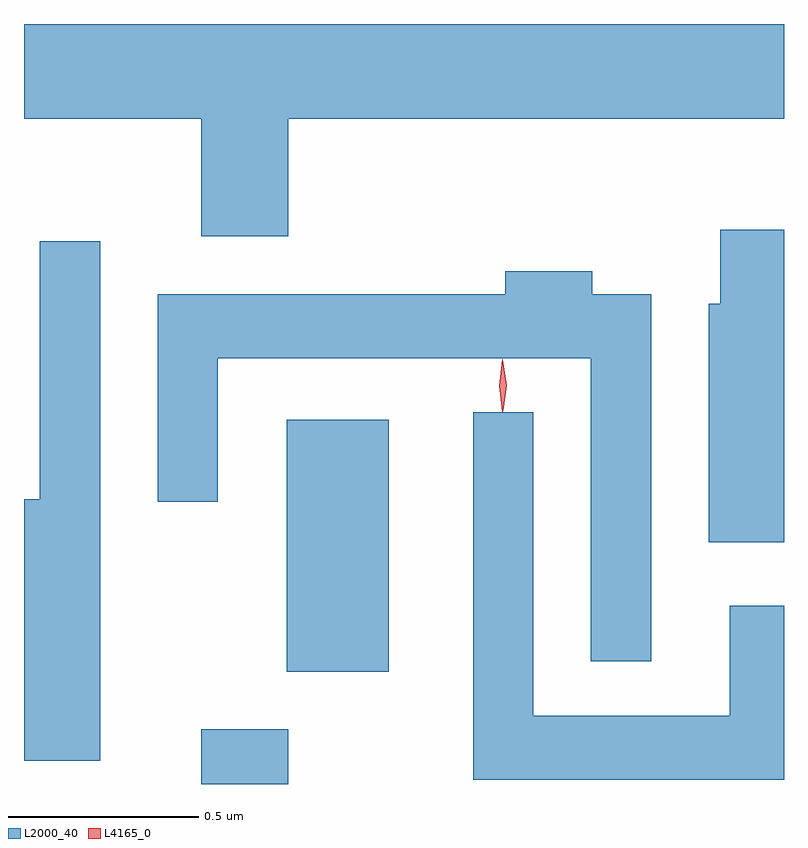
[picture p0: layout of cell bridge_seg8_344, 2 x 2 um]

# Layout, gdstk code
import gdstk
lib = gdstk.Library(unit=1e-6, precision=1e-09)
def R(c, l, rs):  # rectangles x0, y0, x1, y1
    for r in rs: c.add(gdstk.rectangle(r[:2], r[2:], *l))
def P(c, l, *ps):  # polygons
    for p in ps: c.add(gdstk.Polygon(p, *l))
L2000_40 = (2000, 40)
L4165_0 = (4165, 0)

bridge_seg8_344 = lib.new_cell('bridge_seg8_344')
R(bridge_seg8_344, L2000_40, [(935.801,1927.905,936.029,1928.049), (936.026,1928.201,936.294,1928.864)])
P(bridge_seg8_344, L2000_40, [(936.029,1929.656),(937.334,1929.656),(937.334,1929.905),(935.334,1929.905),(935.334,1929.656),(935.801,1929.656),(935.801,1929.346),(936.029,1929.346)],
  [(937.334,1929.364),(937.166,1929.364),(937.166,1929.169),(937.136,1929.169),(937.136,1928.541),(937.334,1928.541)],
  [(935.534,1929.333),(935.376,1929.333),(935.376,1928.654),(935.334,1928.654),(935.334,1927.966),(935.534,1927.966)],
  [(936.984,1929.194),(936.829,1929.194),(936.829,1929.254),(936.601,1929.254),(936.601,1929.194),(935.686,1929.194),(935.686,1928.648),(935.844,1928.648),(935.844,1929.026),(936.826,1929.026),(936.826,1928.228),(936.984,1928.228)],
  [(937.334,1928.374),(937.191,1928.374),(937.191,1928.084),(936.674,1928.084),(936.674,1928.883),(936.516,1928.883),(936.516,1927.916),(937.334,1927.916)])
P(bridge_seg8_344, L4165_0, [(936.594,1928.887),(936.594,1928.887),(936.584,1928.954),(936.594,1929.02),(936.594,1929.02),(936.594,1929.02),(936.604,1928.954),(936.595,1928.887)],
  [(936.593,1928.884),(936.584,1928.953),(936.593,1929.022),(936.594,1929.023),(936.594,1929.022),(936.604,1928.953),(936.594,1928.884),(936.594,1928.884)])

lib.write_gds('bridge_seg8_344.gds')
